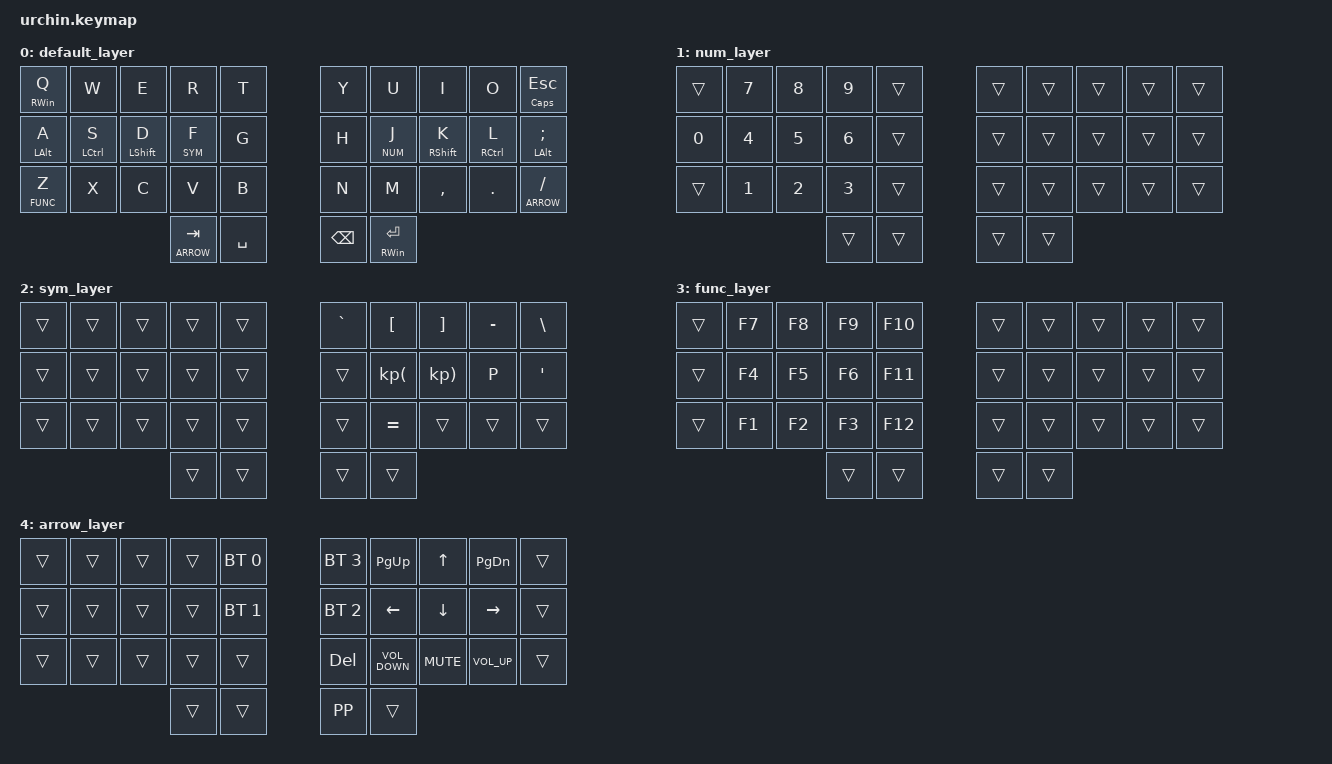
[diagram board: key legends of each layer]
#include <behaviors.dtsi>
#include <dt-bindings/zmk/keys.h>
#include <dt-bindings/zmk/bt.h>
#include <dt-bindings/zmk/outputs.h>

// Home row mods macro
#define HRML(k1,k2,k3) &ht LALT  k1  &ht LCTRL k2  &ht LSHFT k3
#define HRMR(k1,k2,k3) &ht RSHFT k1  &ht RCTRL k2  &ht LALT  k3

// Layer definitions
#define DEFAULT 0
#define NUM     1
#define SYM     2
#define FUNC    3
#define ARROW   4

/ {
	behaviors {
		ht: hold_tap {
            label = "hold_tap";
            compatible = "zmk,behavior-hold-tap";
            #binding-cells = <2>;
            flavor = "balanced";
            tapping-term-ms = <180>;
            bindings = <&kp>, <&kp>;
        };
        lt: layer_tap {
            compatible = "zmk,behavior-hold-tap";
            #binding-cells = <2>;
            flavor = "balanced";
            tapping-term-ms = <180>;
            bindings = <&mo>, <&kp>;
        };
        combos {
            compatible = "zmk,combos";
            combo_esc {
                timeout-ms = <50>;
                key-positions = <0 4 5 9>;
                bindings = <&bt BT_CLR>;
            };
        };
	};
    keymap {
        compatible = "zmk,keymap";
        default_layer {
            bindings = <
                &ht RWIN Q &kp       W &kp       E &kp     R &kp T       &kp Y &kp     U &kp       I &kp       O &ht CAPSLOCK  ESC
                &ht LALT A &ht LCTRL S &ht LSHFT D &lt SYM F &kp G       &kp H &lt NUM J &ht RSHFT K &ht RCTRL L &ht     LALT SEMI
                &lt FUNC Z &kp       X &kp       C &kp     V &kp B       &kp N &kp     M &kp   COMMA &kp     DOT &lt    ARROW FSLH
                &lt ARROW TAB &kp SPACE       &kp BSPC &ht RWIN ENTER
                >;
        };

        num_layer {
            bindings = <
                &trans &kp N7 &kp N8 &kp N9 &trans      &trans &trans &trans &trans &trans
                &kp N0 &kp N4 &kp N5 &kp N6 &trans      &trans &trans &trans &trans &trans
                &trans &kp N1 &kp N2 &kp N3 &trans      &trans &trans &trans &trans &trans
                                     &trans &trans      &trans &trans
                >;
        };

        sym_layer {
            bindings = <
                &trans &trans &trans &trans &trans      &kp GRAVE &kp LBKT  &kp RBKT &kp MINUS &kp BSLH
                &trans &trans &trans &trans &trans      &trans    &kp KP_LPAR  &kp KP_RPAR &kp     P &kp APOS
                &trans &trans &trans &trans &trans      &trans    &kp EQUAL &trans   &trans    &trans
                                     &trans &trans      &trans    &trans
                >;
        };

        func_layer {
            bindings = <
                &trans &kp F7 &kp F8 &kp F9 &kp F10     &trans &trans &trans &trans &trans
                &trans &kp F4 &kp F5 &kp F6 &kp F11     &trans &trans &trans &trans &trans
                &trans &kp F1 &kp F2 &kp F3 &kp F12     &trans &trans &trans &trans &trans
                                     &trans  &trans     &trans &trans
                >;
        };

        arrow_layer {
            bindings = <
                &trans &trans &trans &trans &bt BT_SEL 0      &bt BT_SEL 3 &kp PG_UP    &kp   UP &kp PG_DN    &trans
                &trans &trans &trans &trans &bt BT_SEL 1      &bt BT_SEL 2 &kp  LEFT    &kp DOWN &kp RIGHT    &trans
                &trans &trans &trans &trans &trans            &kp DEL      &kp C_VOLUME_DOWN &kp C_MUTE &kp C_VOLUME_UP &trans
                                     &trans &trans            &kp K_PP       &trans
                >;
        };
    };
};
